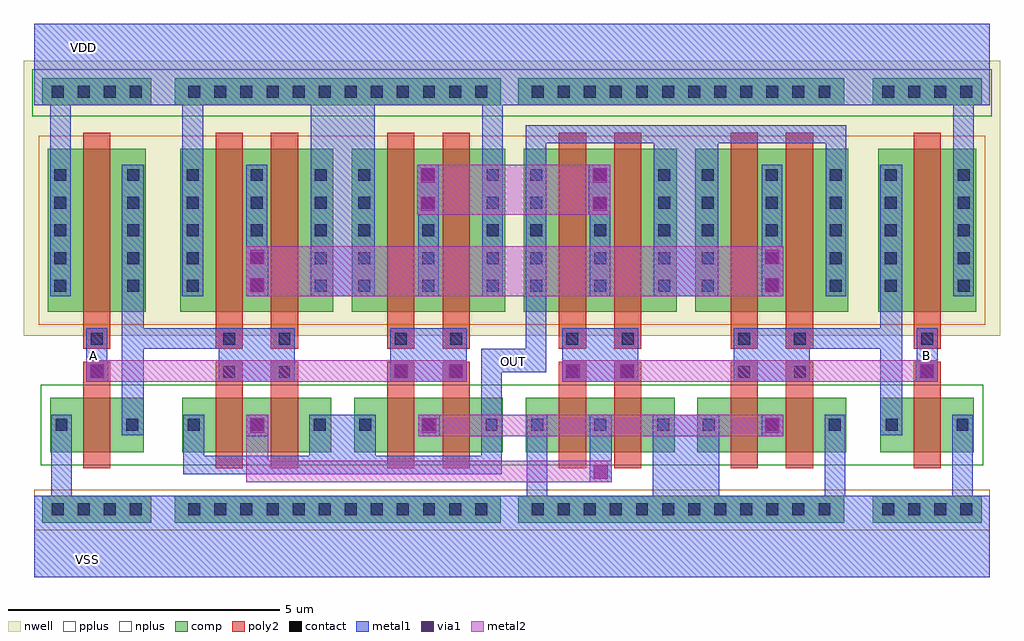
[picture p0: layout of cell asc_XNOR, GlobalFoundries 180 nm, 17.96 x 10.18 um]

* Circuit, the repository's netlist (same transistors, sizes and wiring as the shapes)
** sch_path: /foss/designs/libs/core_analog/asc_XNOR/asc_XNOR.sch
.subckt asc_XNOR VDD VSS OUT A B
*.PININFO VDD:B VSS:B B:B A:B OUT:B
M1 OUT A net1 VSS nfet_03v3 L=0.5u W=2u nf=2 m=1
M2 OUT B net3 VDD pfet_03v3 L=0.5u W=6u nf=2 m=1
M3 net1 Bb VSS VSS nfet_03v3 L=0.5u W=2u nf=2 m=1
M4 net3 A VDD VDD pfet_03v3 L=0.5u W=6u nf=2 m=1
M5 OUT Ab net2 VSS nfet_03v3 L=0.5u W=2u nf=2 m=1
M6 OUT Bb net4 VDD pfet_03v3 L=0.5u W=6u nf=2 m=1
M7 net2 B VSS VSS nfet_03v3 L=0.5u W=2u nf=2 m=1
M8 net4 Ab VDD VDD pfet_03v3 L=0.5u W=6u nf=2 m=1
x1 A VDD Ab VSS inv1u05u
x2 B VDD Bb VSS inv1u05u
.ends

* expanding   symbol:  libs/core_analog/inv1u05u/inv1u05u.sym # of pins=4
** sym_path: /foss/designs/libs/core_analog/inv1u05u/inv1u05u.sym
** sch_path: /foss/designs/libs/core_analog/inv1u05u/inv1u05u.sch
.subckt inv1u05u in vdd out vss
*.PININFO in:B out:B vss:B vdd:B
M1 out in vdd vdd pfet_03v3 L=0.5u W=3.0u nf=1 m=1
M2 out in vss vss nfet_03v3 L=0.5u W=1.0u nf=1 m=1
.ends

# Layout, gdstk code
from math import pi, radians
import gdstk
lib = gdstk.Library(unit=1e-6, precision=5e-09)
def R(c, l, rs):  # rectangles x0, y0, x1, y1
    for r in rs: c.add(gdstk.rectangle(r[:2], r[2:], *l))
def A(c, l, x, y, w, h, nx, ny, dx, dy):  # array of equal rectangles
    R(c, l, [(x+i*dx, y+j*dy, x+i*dx+w, y+j*dy+h) for i in range(nx) for j in range(ny)])
nwell = (21, 0)
comp = (22, 0)
poly2 = (30, 0)
pplus = (31, 0)
nplus = (32, 0)
contact = (33, 0)
metal1 = (34, 0)
via1 = (35, 0)
metal2 = (36, 0)

via_dev = lib.new_cell('via_dev')
R(via_dev, metal1, [(0,0,0.4,0.4)])
R(via_dev, via1, [(0.07,0.07,0.33,0.33)])
R(via_dev, metal2, [(0,0,0.4,0.4)])

nfet = lib.new_cell('nfet')
R(nfet, comp, [(-0.42,0,0,1), (0,0,1.9,1), (1.9,0,2.32,1)])
R(nfet, poly2, [(0.19,-0.3,0.69,1.3), (1.21,-0.3,1.71,1.3), (0.19,1.3,0.69,1.66), (1.21,1.3,1.71,1.66)])
R(nfet, nplus, [(-0.59,-0.24,2.49,1.24)])
A(nfet, contact, -0.32, 0.39, 0.22, 0.22, 3, 1, 1.16, 0)
R(nfet, contact, [(0.33,1.37,0.55,1.59), (1.35,1.37,1.57,1.59)])
A(nfet, metal1, -0.4, 0.31, 0.38, 0.38, 3, 1, 1.16, 0)
R(nfet, metal1, [(0.25,1.29,0.63,1.67), (1.27,1.29,1.65,1.67)])

via_dev_3 = lib.new_cell('via_dev$3')
R(via_dev_3, metal1, [(0,0,0.4,0.4)])
R(via_dev_3, via1, [(0.07,0.07,0.33,0.33)])
R(via_dev_3, metal2, [(0,0,0.4,0.4)])

nfet_1 = lib.new_cell('nfet$1')
R(nfet_1, comp, [(-0.42,0,0,1), (0,0,1.9,1), (1.9,0,2.32,1)])
R(nfet_1, poly2, [(0.19,-0.3,0.69,1.3), (1.21,-0.3,1.71,1.3), (0.19,1.3,0.69,1.66), (1.21,1.3,1.71,1.66)])
R(nfet_1, nplus, [(-0.59,-0.24,2.49,1.24)])
A(nfet_1, contact, -0.32, 0.39, 0.22, 0.22, 3, 1, 1.16, 0)
R(nfet_1, contact, [(0.33,1.37,0.55,1.59), (1.35,1.37,1.57,1.59)])
A(nfet_1, metal1, -0.4, 0.31, 0.38, 0.38, 3, 1, 1.16, 0)
R(nfet_1, metal1, [(0.25,1.29,0.63,1.67), (1.27,1.29,1.65,1.67)])

via_dev_4 = lib.new_cell('via_dev$4')
R(via_dev_4, comp, [(0,0,6,0.5)])
A(via_dev_4, contact, 0.25, 0.14, 0.22, 0.22, 12, 1, 0.48, 0)
R(via_dev_4, metal1, [(0,0,6,0.5)])

via_dev_1 = lib.new_cell('via_dev$1')
R(via_dev_1, comp, [(0,0,6,0.5)])
A(via_dev_1, contact, 0.25, 0.14, 0.22, 0.22, 12, 1, 0.48, 0)
R(via_dev_1, metal1, [(0,0,6,0.5)])

pfet_1 = lib.new_cell('pfet$1')
R(pfet_1, nwell, [(-0.9,-0.44,2.8,3.44)])
R(pfet_1, comp, [(-0.46,0,0,3), (0,0,1.9,3), (1.9,0,2.36,3)])
R(pfet_1, poly2, [(0.19,-0.68,0.69,-0.3), (1.21,-0.68,1.71,-0.3), (0.19,-0.3,0.69,3.3), (1.21,-0.3,1.71,3.3)])
R(pfet_1, pplus, [(-0.63,-0.24,2.53,3.24)])
A(pfet_1, contact, -0.34, 0.37, 0.22, 0.22, 3, 5, 1.18, 0.51)
R(pfet_1, contact, [(0.33,-0.6,0.55,-0.38), (1.35,-0.6,1.57,-0.38)])
A(pfet_1, metal1, -0.42, 0.29, 0.38, 2.42, 3, 1, 1.18, 0)
R(pfet_1, metal1, [(0.25,-0.68,0.63,-0.3), (1.27,-0.68,1.65,-0.3)])

via_dev_5 = lib.new_cell('via_dev$5')

via_dev_2 = lib.new_cell('via_dev$2')

via_dev_6 = lib.new_cell('via_dev$6')
R(via_dev_6, comp, [(0,0,2,0.5)])
A(via_dev_6, contact, 0.17, 0.14, 0.22, 0.22, 4, 1, 0.48, 0)
R(via_dev_6, metal1, [(0,0,2,0.5)])

nfet_2 = lib.new_cell('nfet$2')
R(nfet_2, comp, [(-0.42,0,0,1), (0,0,0.88,1), (0.88,0,1.3,1)])
R(nfet_2, poly2, [(0.19,-0.3,0.69,1.3), (0.19,1.3,0.69,1.66)])
R(nfet_2, nplus, [(-0.59,-0.24,1.47,1.24)])
R(nfet_2, contact, [(-0.32,0.39,-0.1,0.61), (0.98,0.39,1.2,0.61), (0.33,1.37,0.55,1.59)])
R(nfet_2, metal1, [(-0.4,0.31,-0.02,0.69), (0.9,0.31,1.28,0.69), (0.25,1.29,0.63,1.67)])

via_dev_7 = lib.new_cell('via_dev$7')

pfet = lib.new_cell('pfet')
R(pfet, nwell, [(-0.9,-0.44,1.78,3.44)])
R(pfet, comp, [(-0.46,0,0,3), (0,0,0.88,3), (0.88,0,1.34,3)])
R(pfet, poly2, [(0.19,-0.68,0.69,-0.3), (0.19,-0.3,0.69,3.3)])
R(pfet, pplus, [(-0.63,-0.24,1.51,3.24)])
A(pfet, contact, -0.34, 0.37, 0.22, 0.22, 1, 5, 0, 0.51)
A(pfet, contact, 1, 0.37, 0.22, 0.22, 1, 5, 0, 0.51)
R(pfet, contact, [(0.33,-0.6,0.55,-0.38)])
R(pfet, metal1, [(0.25,-0.68,0.63,-0.3), (-0.42,0.29,-0.04,2.71), (0.92,0.29,1.3,2.71)])

asc_xnor = lib.new_cell('asc_XNOR')
R(asc_xnor, nwell, [(-5.01,4.46,-2.33,5.645), (-2.575,4.46,4.205,5.645), (3.745,4.46,10.525,5.645), (10.275,4.46,12.955,5.645)])
R(asc_xnor, pplus, [(-4.82,-3,-2.385,-2.25), (10.33,-3,12.765,-2.25), (-2.6,0.78,-2.305,4.26), (10.335,0.78,10.545,4.26)])
A(asc_xnor, nplus, 0.815, -1.8, 0.08, 1.48, 3, 1, 3.16, 0)
R(asc_xnor, nplus, [(-2.64,-1.8,-2.265,-0.32), (10.295,-1.8,10.585,-0.32), (-4.855,4.62,-2.47,5.485), (-2.47,4.62,-2.42,5.485), (-2.42,4.62,4.05,5.485), (3.9,4.62,10.37,5.485), (10.37,4.62,10.415,5.485), (10.415,4.62,12.8,5.485)])
A(asc_xnor, metal1, -1.425, -0.27, 1.4, 0.38, 4, 1, 3.16, 0)
R(asc_xnor, metal1, [(-4.82,-3.86,-2.39,-2.36), (-2.39,-3.86,-2.385,-2.36), (-2.385,-3.86,4.01,-2.36), (3.935,-3.86,10.33,-2.36), (10.33,-3.86,10.335,-2.36), (10.335,-3.86,12.765,-2.36), (-4.82,-2.86,-4.67,-2.36), (-4.51,-2.86,-4.13,-0.87), (-2.385,-2.86,-2.235,-2.36), (3.765,-2.86,4.01,-2.36), (3.935,-2.86,4.085,-2.36), (4.245,-2.86,4.625,-0.87), (6.565,-2.86,7.785,-0.87), (9.725,-2.86,10.105,-0.87), (10.085,-2.86,10.33,-2.36), (12.075,-2.86,12.455,-0.87), (12.615,-2.86,12.765,-2.36), (5.405,-2.12,5.805,-0.87), (-2.075,-1.965,-1.695,-0.87), (-2.075,-1.965,3.785,-1.625), (0.245,-1.965,1.465,-0.87), (3.405,-1.965,3.785,0.345), (-3.21,-1.25,-2.81,3.73), (10.755,-1.25,11.155,3.73), (-3.86,-0.27,-3.48,0.72), (1.735,-0.27,3.135,0.72), (8.055,-0.27,9.455,0.72), (11.425,-0.27,11.805,0.72), (3.405,-0.095,4.605,0.345), (4.225,-0.095,4.605,1.31), (-1.425,0.11,-0.025,0.72), (4.895,0.11,6.295,0.72), (-3.21,0.34,-0.985,0.72), (9.015,0.34,11.155,0.72), (-4.53,1.31,-4.15,5.32), (-2.095,1.31,-1.715,5.32), (0.265,1.31,1.445,5.32), (3.425,1.31,3.805,5.32), (6.585,1.31,7.765,4.46), (12.095,1.31,12.475,5.32), (-0.535,1.71,-0.515,1.83), (8.945,1.71,8.965,1.83), (5.385,3.205,5.405,3.33), (2.225,3.21,2.245,3.33), (9.745,3.29,10.125,4.46), (4.225,3.365,4.605,4.46), (4.225,4.12,10.125,4.46), (-4.82,4.82,-4.67,5.32), (-4.82,4.82,-2.47,6.32), (-2.47,4.82,-2.385,6.32), (-2.385,4.82,-2.235,5.32), (-2.385,4.82,3.955,6.32), (3.765,4.82,3.955,5.32), (3.935,4.82,4.085,5.32), (3.935,4.82,10.275,6.32), (10.085,4.82,10.275,5.32), (10.275,4.82,10.415,6.32), (10.415,4.82,12.765,6.32), (12.615,4.82,12.765,5.32)])
R(asc_xnor, metal2, [(-0.915,-2.12,5.805,-1.72), (-0.915,-2.12,-0.515,-0.87), (2.245,-1.27,8.965,-0.87), (-3.86,-0.27,3.135,0.13), (4.895,-0.27,11.805,0.13), (-0.915,1.31,8.965,2.23), (2.225,2.81,5.785,3.73)])
asc_xnor.add(gdstk.FlexPath([(-2.385,-2.625),(4.01,-2.625)], 0.75, ends="flush", simple_path=True, layer=31, datatype=0))  # pplus
asc_xnor.add(gdstk.FlexPath([(3.935,-2.625),(10.33,-2.625)], 0.75, ends="flush", simple_path=True, layer=31, datatype=0))  # pplus
asc_xnor.add(gdstk.Reference(via_dev, (1.735,-0.27)))
asc_xnor.add(gdstk.Reference(nfet, (1.485,-1.56)))
asc_xnor.add(gdstk.Reference(via_dev_3, (-0.915,-1.27)))
asc_xnor.add(gdstk.Reference(nfet_1, (7.805,-1.56)))
asc_xnor.add(gdstk.Reference(via_dev_4, (4.085,4.82)))
asc_xnor.add(gdstk.Reference(via_dev_4, (4.085,-2.86)))
asc_xnor.add(gdstk.Reference(via_dev_1, (-2.235,4.82)))
asc_xnor.add(gdstk.Reference(via_dev_1, (-2.235,-2.86)))
asc_xnor.add(gdstk.Reference(pfet_1, (1.485,1.02)))
asc_xnor.add(gdstk.Reference(pfet_1, (7.805,1.02)))
asc_xnor.add(gdstk.Reference(nfet_1, (4.645,-1.56)))
asc_xnor.add(gdstk.Reference(via_dev_5, (3.285,-3.45), rotation=pi/2))
asc_xnor.add(gdstk.Reference(nfet, (-1.675,-1.56)))
asc_xnor.add(gdstk.Reference(via_dev_2, (-3.035,-3.45), rotation=pi/2))
asc_xnor.add(gdstk.Reference(pfet_1, (-1.675,1.02)))
asc_xnor.add(gdstk.Reference(pfet_1, (4.645,1.02)))
asc_xnor.add(gdstk.Reference(via_dev_6, (12.615,4.82), rotation=pi, x_reflection=True))
asc_xnor.add(gdstk.Reference(via_dev_3, (-3.86,-0.27)))
asc_xnor.add(gdstk.Reference(via_dev_6, (-4.67,4.82)))
asc_xnor.add(gdstk.Reference(via_dev_6, (-4.67,-2.86)))
asc_xnor.add(gdstk.Reference(nfet_2, (-4.11,-1.56)))
asc_xnor.add(gdstk.Reference(via_dev_7, (-5.47,-3.45), rotation=pi/2))
asc_xnor.add(gdstk.Reference(pfet, (-4.11,1.02)))
asc_xnor.add(gdstk.Reference(via_dev_6, (12.615,-2.86), rotation=pi, x_reflection=True))
asc_xnor.add(gdstk.Reference(nfet_2, (12.055,-1.56), rotation=pi, x_reflection=True))
asc_xnor.add(gdstk.Reference(via_dev_7, (13.415,-3.45), rotation=pi/2, x_reflection=True))
asc_xnor.add(gdstk.Reference(pfet, (12.055,1.02), rotation=pi, x_reflection=True))
asc_xnor.add(gdstk.Reference(via_dev_3, (2.735,-0.27)))
asc_xnor.add(gdstk.Reference(via_dev_3, (4.895,-0.27)))
asc_xnor.add(gdstk.Reference(via_dev_3, (5.895,-0.27)))
asc_xnor.add(gdstk.Reference(via_dev_3, (11.405,-0.27)))
asc_xnor.add(gdstk.Reference(via_dev_3, (2.245,-1.27)))
asc_xnor.add(gdstk.Reference(via_dev_3, (5.405,-2.12)))
asc_xnor.add(gdstk.Reference(via_dev_3, (8.565,-1.27)))
asc_xnor.add(gdstk.Reference(via_dev_3, (-0.915,1.31)))
asc_xnor.add(gdstk.Reference(via_dev_3, (-0.915,1.83)))
asc_xnor.add(gdstk.Reference(via_dev_3, (8.565,1.31)))
asc_xnor.add(gdstk.Reference(via_dev_3, (8.565,1.83)))
asc_xnor.add(gdstk.Reference(via_dev_3, (5.385,2.81)))
asc_xnor.add(gdstk.Reference(via_dev_3, (5.385,3.33)))
asc_xnor.add(gdstk.Reference(via_dev_3, (2.225,2.81)))
asc_xnor.add(gdstk.Reference(via_dev_3, (2.225,3.33)))
asc_xnor.add(gdstk.Label('A', (-3.73,0.22), layer=34, texttype=10))
asc_xnor.add(gdstk.Label('B', (11.6,0.225), layer=34, texttype=10))
asc_xnor.add(gdstk.Label('OUT', (3.995,0.115), layer=34, texttype=10))
asc_xnor.add(gdstk.Label('VDD', (-3.92,5.895), layer=34, texttype=10))
asc_xnor.add(gdstk.Label('VSS', (-3.84,-3.53), layer=34, texttype=10))

lib.write_gds('asc_XNOR.gds')
